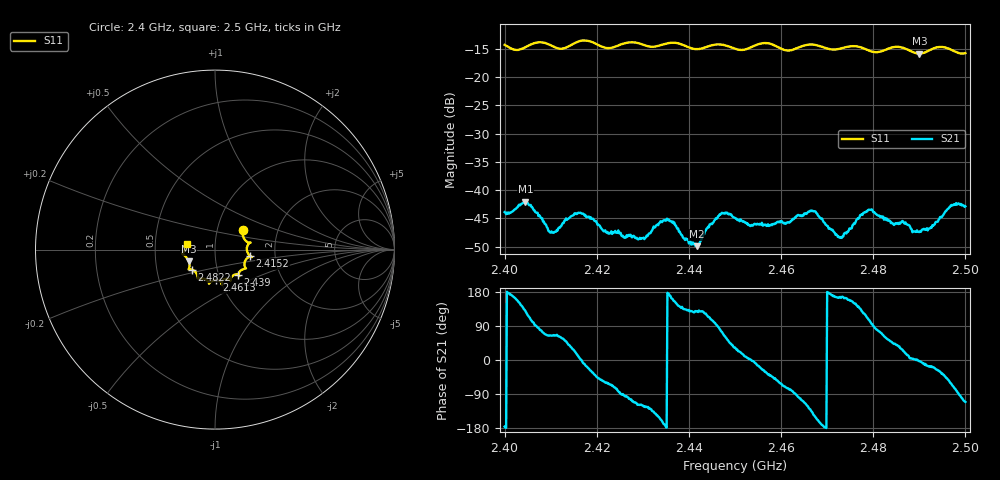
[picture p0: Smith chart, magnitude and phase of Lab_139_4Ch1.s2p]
# Hz S RI R 50
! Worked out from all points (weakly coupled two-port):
!   601 points, 2.4 GHz to 2.5 GHz, reference 50 ohm
!   highest |S21| = -42.05 dB at 2.4045 GHz (marker M1); lowest = -49.9 dB at 2.4417 GHz (marker M2)
!   lowest |S11| = -15.9 dB at 2.49 GHz (marker M3), VSWR 1.38, Z = 36.9 - j4.87 ohm
!   |S11| at or under -10 dB: start of sweep to end of sweep
!   S12 and S22 are empty: the file has one direction only
!   S11 on the Smith chart (normalised r, x): 2.4 GHz: 1.33, +0.31; 2.4152 GHz: 1.48, -0.11; 2.439 GHz: 1.24, -0.36; 2.4613 GHz: 0.96, -0.34; 2.4822 GHz: 0.76, -0.17; 2.5 GHz: 0.73, +0.05
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2.4e9  0.156 0.1115  -0.00639 -0.000469  0 0  0 0
2.4045e9  0.1774 0.0433  -0.00504 0.00607  0 0  0 0
2.410167e9  0.186 0.0305  0.00188 0.00389  0 0  0 0
2.415167e9  0.1948 -0.0357  0.00571 0.00252  0 0  0 0
2.416667e9  0.2044 -0.0417  0.00622 4.62e-05  0 0  0 0
2.425833e9  0.1689 -0.1008  -0.000154 -0.00384  0 0  0 0
2.430167e9  0.1576 -0.1091  -0.00205 -0.00321  0 0  0 0
2.433333e9  0.1328 -0.1327  -0.00422 -0.0025  0 0  0 0
2.435667e9  0.1339 -0.1471  -0.00544 0.000576  0 0  0 0
2.439e9  0.128 -0.1394  -0.0026 0.00266  0 0  0 0
2.441667e9  0.1017 -0.1433  -0.00199 0.00251  0 0  0 0
2.446833e9  0.0854 -0.173  0.00114 0.00598  0 0  0 0
2.45e9  0.0687 -0.1635  0.00477 0.0031  0 0  0 0
2.461333e9  0.00792 -0.1707  0.00138 -0.00501  0 0  0 0
2.466667e9  -0.0332 -0.1901  -0.00474 -0.00451  0 0  0 0
2.472833e9  -0.0753 -0.1605  -0.0037 0.0009  0 0  0 0
2.478667e9  -0.0994 -0.142  -0.00241 0.00602  0 0  0 0
2.482167e9  -0.128 -0.112  0.00241 0.00532  0 0  0 0
2.483333e9  -0.1393 -0.1103  0.00321 0.0043  0 0  0 0
2.49e9  -0.1468 -0.0642  0.00426 -0.000264  0 0  0 0
2.497e9  -0.1726 -0.0113  0.00326 -0.00665  0 0  0 0
2.5e9  -0.1584 0.0335  -0.00254 -0.00673  0 0  0 0
